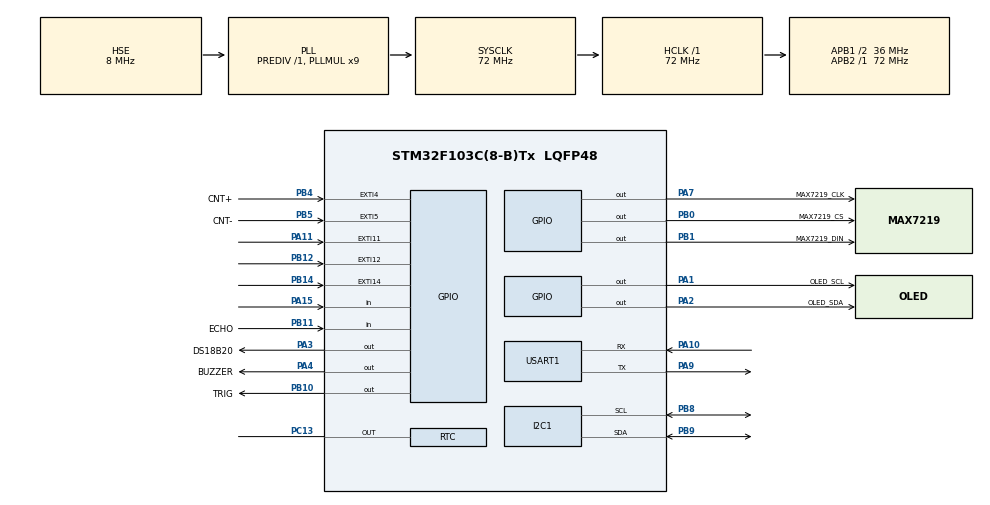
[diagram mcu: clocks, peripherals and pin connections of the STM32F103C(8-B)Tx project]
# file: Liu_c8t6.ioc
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IWDG.Prescaler=IWDG_PRESCALER_16
Mcu.Family=STM32F1
Mcu.Name=STM32F103C(8-B)Tx
Mcu.Package=LQFP48
NVIC.EXTI15_10_IRQn=true\:0\:0\:false\:false\:true\:true\:true\:true
NVIC.EXTI4_IRQn=true\:0\:0\:false\:false\:true\:true\:true\:true
NVIC.EXTI9_5_IRQn=true\:0\:0\:false\:false\:true\:true\:true\:true
NVIC.PriorityGroup=NVIC_PRIORITYGROUP_4
NVIC.TIM1_UP_IRQn=true\:0\:0\:true\:false\:true\:true\:true\:true
NVIC.TIM2_IRQn=true\:1\:0\:true\:false\:true\:true\:true\:true
NVIC.USART1_IRQn=true\:2\:0\:true\:false\:true\:true\:true\:true
PA1.GPIO_Label=OLED_SCL
PA1.GPIO_Speed=GPIO_SPEED_FREQ_HIGH
PA1.Signal=GPIO_Output
PA10.Mode=Asynchronous
PA10.Signal=USART1_RX
PA11.GPIO_ModeDefaultEXTI=GPIO_MODE_IT_FALLING
PA11.GPIO_PuPd=GPIO_PULLUP
PA11.Signal=GPXTI11
PA13.Mode=Serial_Wire
PA13.Signal=SYS_JTMS-SWDIO
PA14.Mode=Serial_Wire
PA14.Signal=SYS_JTCK-SWCLK
PA15.GPIO_PuPd=GPIO_PULLUP
PA15.Signal=GPIO_Input
PA2.GPIO_Label=OLED_SDA
PA2.GPIO_Speed=GPIO_SPEED_FREQ_HIGH
PA2.Signal=GPIO_Output
PA3.GPIO_Label=DS18B20
PA3.GPIO_PuPd=GPIO_PULLUP
PA3.Signal=GPIO_Output
PA4.GPIO_Label=BUZZER
PA4.GPIO_ModeDefaultOutputPP=GPIO_MODE_OUTPUT_OD
PA4.GPIO_PuPd=GPIO_PULLUP
PA4.Signal=GPIO_Output
PA7.GPIO_Label=MAX7219_CLK
PA7.GPIO_Speed=GPIO_SPEED_FREQ_HIGH
PA7.Signal=GPIO_Output
PA9.Mode=Asynchronous
PA9.Signal=USART1_TX
PB0.GPIO_Label=MAX7219_CS
PB0.GPIO_Speed=GPIO_SPEED_FREQ_HIGH
PB0.Signal=GPIO_Output
PB1.GPIO_Label=MAX7219_DIN
PB1.GPIO_Speed=GPIO_SPEED_FREQ_HIGH
PB1.Signal=GPIO_Output
PB10.GPIO_Label=TRIG
PB10.Signal=GPIO_Output
PB11.GPIO_Label=ECHO
PB11.Signal=GPIO_Input
PB12.GPIO_ModeDefaultEXTI=GPIO_MODE_IT_FALLING
PB12.GPIO_PuPd=GPIO_PULLUP
PB12.Signal=GPXTI12
PB14.GPIO_ModeDefaultEXTI=GPIO_MODE_IT_FALLING
PB14.GPIO_PuPd=GPIO_PULLUP
PB14.Signal=GPXTI14
PB4.GPIO_Label=CNT+
PB4.GPIO_ModeDefaultEXTI=GPIO_MODE_IT_FALLING
PB4.GPIO_PuPd=GPIO_PULLUP
PB4.Signal=GPXTI4
PB5.GPIO_Label=CNT-
PB5.GPIO_ModeDefaultEXTI=GPIO_MODE_IT_FALLING
PB5.GPIO_PuPd=GPIO_PULLUP
PB5.Signal=GPXTI5
PB8.Mode=I2C
PB8.Signal=I2C1_SCL
PB9.Mode=I2C
PB9.Signal=I2C1_SDA
PC13-TAMPER-RTC.Mode=RTC OUT
PC13-TAMPER-RTC.Signal=RTC_OUT
PC14-OSC32_IN.Mode=LSE-External-Oscillator
PC14-OSC32_IN.Signal=RCC_OSC32_IN
PC15-OSC32_OUT.Mode=LSE-External-Oscillator
PC15-OSC32_OUT.Signal=RCC_OSC32_OUT
PD0-OSC_IN.Mode=HSE-External-Oscillator
PD0-OSC_IN.Signal=RCC_OSC_IN
PD1-OSC_OUT.Mode=HSE-External-Oscillator
PD1-OSC_OUT.Signal=RCC_OSC_OUT
ProjectManager.HeapSize=0x200
ProjectManager.StackSize=0x400
ProjectManager.TargetToolchain=STM32CubeIDE
RCC.AHBFreq_Value=72000000
RCC.APB1CLKDivider=RCC_HCLK_DIV2
RCC.APB1Freq_Value=36000000
RCC.APB1TimFreq_Value=72000000
RCC.APB2Freq_Value=72000000
RCC.APB2TimFreq_Value=72000000
RCC.HCLKFreq_Value=72000000
RCC.PLLMUL=RCC_PLL_MUL9
RCC.PLLSourceVirtual=RCC_PLLSOURCE_HSE
RCC.RTCClockSelection=RCC_RTCCLKSOURCE_LSE
RCC.SYSCLKFreq_VALUE=72000000
RCC.SYSCLKSource=RCC_SYSCLKSOURCE_PLLCLK
RCC.USBFreq_Value=72000000
RTC.Date=13
RTC.Hours=1
RTC.Minutes=51
RTC.Month=RTC_MONTH_NOVEMBER
RTC.WeekDay=RTC_WEEKDAY_WEDNESDAY
RTC.Year=24
TIM1.Period=1000-1
TIM1.Prescaler=72-1
TIM2.Period=1000-1
TIM2.Prescaler=72-1
USART1.VirtualMode=VM_ASYNC
VP_IWDG_VS_IWDG.Mode=IWDG_Activate
VP_RTC_VS_RTC_Activate.Mode=RTC_Enabled
VP_RTC_VS_RTC_Calendar.Mode=RTC_Calendar
VP_TIM1_VS_ClockSourceINT.Mode=Internal
VP_TIM2_VS_ClockSourceINT.Mode=Internal
board=custom

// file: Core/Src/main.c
/* USER CODE BEGIN Header */
/**
  ******************************************************************************
  * @file           : main.c
  * @brief          : Main program body
  ******************************************************************************
  * @attention
  *
  * Copyright (c) 2024 STMicroelectronics.
  * All rights reserved.
  *
  * This software is licensed under terms that can be found in the LICENSE file
  * in the root directory of this software component.
  * If no LICENSE file comes with this software, it is provided AS-IS.
  *
  ******************************************************************************
  */
/* USER CODE END Header */
#include "main.h"
#include "i2c.h"
#include "iwdg.h"
#include "rtc.h"
#include "tim.h"
#include "usart.h"
#include "gpio.h"

/* USER CODE BEGIN Includes */
#include "OLED2.h"
#include "MENU.h"
#include "MAX7219.h"
#include "HCSR04.h"
#include "buzzer.h"
#include "AHT10.h"
#include "DS18B20.h"
#include "MYRTC.h"
/* USER CODE END Includes */

/* USER CODE BEGIN PD */
// 传感器数据
float temperature = 0,humidity = 0,temperature_ds18 = 0;
float temperature_1000 = 0,humidity_100 = 0;

// 原始距离与修正距离
float distance[2] = {0};
// 显示补偿
float distance_1000 = 0;
float distance_offset_1000 = 0;

// 报警阈值
uint32_t cnt = 5;

// 八段数码管显示计算用值
int displayValue = 0;
int integerPart = 0;
int decimalPart = 0;

// 温湿度补偿参数
float temperature_compensation = 0.606;
float humidity_compensation = 0.0124;

//距离显示用值
uint16_t Data_Distance = 0;
extern uint8_t c;
extern int get_key;
// flash存储数组
extern uint16_t datatemp[6];

/* USER CODE END PD */

/* USER CODE BEGIN PV */
// 时间存储函数
unsigned char time_data[8] = {0};
char *weekdays[7] = {
        "Sunday",    // 0
        "Monday",    // 1
        "Tuesday",   // 2
        "Wednesday", // 3
        "Thursday",  // 4
        "Friday",    // 5
        "Saturday"   // 6
};
char *weekdays_temp[1];

/* USER CODE END PV */

void SystemClock_Config(void);

int main(void)
{

  /* MCU Configuration--------------------------------------------------------*/

  /* Reset of all peripherals, Initializes the Flash interface and the Systick. */
  HAL_Init();

  /* USER CODE BEGIN Init */
    //SHT20_GPIO_INIT();
    AHT10_Init();
    DS18B20_GPIO_Init();
    Ultrasonic_Init();
    MAX7219_Init(0XFF,8,8);// 1110 0111
    OLED_Init();

  /* USER CODE END Init */

  /* Configure the system clock */
  SystemClock_Config();

  /* Initialize all configured peripherals */
  MX_GPIO_Init();
  MX_TIM1_Init();
  MX_USART1_UART_Init();
  MX_TIM2_Init();
  MX_RTC_Init();
  MX_I2C1_Init();
  MX_IWDG_Init();
  /* USER CODE BEGIN 2 */
    HAL_TIM_Base_Start_IT(&htim1);
    HAL_TIM_Base_Start_IT(&htim2);
    //HAL_Delay(1000);
    menu_3();//初始化显示菜单一
    //menu_4();
    //menu_5();
    HAL_GPIO_WritePin(GPIOA, GPIO_PIN_4, GPIO_PIN_SET);

  /* USER CODE END 2 */

  /* Infinite loop */
  while (1)
  {

    /* USER CODE BEGIN 3 */

      // 传感器数据获取

//      temperature = SHT20_Read(T_ADDR);
//      humidity = SHT20_Read(PH_ADDR);
      AHT10_Read_predata(&humidity,&temperature);
       Hcsr04GetLength_offset();
      // distance[1] = MedianFilter(); // 测量距离且中位值滤波
      // distance[1] = GetCompensatedDistance();  // 获取七次距离然后中位值滤波算法，最后进行分区间补偿
      temperature_ds18 = DS18B20_GetTemperture();
      Data_Distance = (uint16_t)distance[1];

      // 打印时钟
      //HALGetDataTime();
      RtcGetDateTime(time_data,
                     time_data+1,
                     time_data+2,
                     time_data+3,
                     time_data+4,
                     time_data+5
      );
      weekdays_temp[0] = CalWeek(time_data[0], time_data[1], time_data[2]);
      printf("%s\n", weekdays_temp[0]);
      printf("20%02d/%02d/%02d\t",time_data[0], time_data[1], time_data[2]);
      printf("%02d:%02d:%02d\r\n",time_data[3], time_data[4], time_data[5]);
      printf("相对湿度: %f %%\n", humidity);
      printf("摄氏温度: %f ℃\n", temperature);
      printf("原始距离: %f cm\n", distance[0]);
      printf("修正距离: %f cm\n", distance[1]);
      printf("整数距离: %d cm\n", Data_Distance);
      printf("温度 = %.2f\r\n\n", temperature_ds18);

        // 八段数码管显示在定时器二的定时周期中
        // 八段数码管实时显示报警阈值

      MAX7219_ShowNum(8, (int)(cnt / 1000),0);
      MAX7219_ShowNum(7, (int)((cnt / 100)%10),0);
      MAX7219_ShowNum(6, (int)((cnt % 100) / 10),0);
      MAX7219_ShowNum(5, (int)(cnt % 10),0);
        // 八段数码管实时显示测量距离，分辨率0.01cm
        displayValue = (int)(distance[1] * 100);
        integerPart = displayValue / 100;
        decimalPart = displayValue % 100;
        if (integerPart > 99)
        {
            integerPart = 99;
            decimalPart = 0;
        }
      MAX7219_ShowNum(4, (integerPart / 10),0);
      MAX7219_ShowNum(3, (integerPart % 10) ,1);
      MAX7219_ShowNum(2, (decimalPart / 10),0);
      MAX7219_ShowNum(1, (decimalPart % 10),0);
      // 报警
      if (displayValue <= cnt*100)
      {
          Buzzer_Alarm((int)distance);
          HAL_IWDG_Refresh(&hiwdg);   //看门狗喂狗
      }

      // OLED显示修正
      temperature_1000 = temperature*1000;
      humidity_100 = humidity*100;
      distance_1000 = distance[0]*1000;
      distance_offset_1000 = distance[1]*1000;

      // OLED显示
      if(c%5==3)
      {
          Display_Array[0]=Display_Array[75];
          Retrude(Display_Array);
          Dotting(Display_Array,1);
          Dotting(Display_Array,0);
          OLED_ShowNum(98,56,Data_Distance,3,8,1);
          OLED_ShowNum(87,56,Display_Array[0],2,8,1);
          OLED_Refresh();
      }

      else if(c%5==4)
      {
          OLED_ShowNum(80,0,Data_Distance,3,16,1);OLED_Refresh();
      }

      else if(c%5==1)
      {
          Updata_menu4();
      }
      else if(c%5 ==2){
          Updata_menu5();
          if (displayValue <= cnt*100)
          {
              OLED_ShowChinese(80,48,25,16,1);
          }else {OLED_ShowChinese(80,48,26,16,1);}
          OLED_Refresh();
      }

      else if(c%5 == 0){
          menu_3();
          OLED_ShowNum(80,48,Data_Distance,3,16,1);
          OLED_Refresh();
      }
      Display_Array[75]=(Data_Distance+1)/10+1;

      HAL_IWDG_Refresh(&hiwdg);   //看门狗喂狗
  }
  /* USER CODE END 3 */
}

void SystemClock_Config(void)
{
  RCC_OscInitTypeDef RCC_OscInitStruct = {0};
  RCC_ClkInitTypeDef RCC_ClkInitStruct = {0};
  RCC_PeriphCLKInitTypeDef PeriphClkInit = {0};

  /** Initializes the RCC Oscillators according to the specified parameters
  * in the RCC_OscInitTypeDef structure.
  */
  RCC_OscInitStruct.OscillatorType = RCC_OSCILLATORTYPE_LSI|RCC_OSCILLATORTYPE_HSE
                              |RCC_OSCILLATORTYPE_LSE;
  RCC_OscInitStruct.HSEState = RCC_HSE_ON;
  RCC_OscInitStruct.HSEPredivValue = RCC_HSE_PREDIV_DIV1;
  RCC_OscInitStruct.LSEState = RCC_LSE_ON;
  RCC_OscInitStruct.HSIState = RCC_HSI_ON;
  RCC_OscInitStruct.LSIState = RCC_LSI_ON;
  RCC_OscInitStruct.PLL.PLLState = RCC_PLL_ON;
  RCC_OscInitStruct.PLL.PLLSource = RCC_PLLSOURCE_HSE;
  RCC_OscInitStruct.PLL.PLLMUL = RCC_PLL_MUL9;
  if (HAL_RCC_OscConfig(&RCC_OscInitStruct) != HAL_OK)
  {
    Error_Handler();
  }

  /** Initializes the CPU, AHB and APB buses clocks
  */
  RCC_ClkInitStruct.ClockType = RCC_CLOCKTYPE_HCLK|RCC_CLOCKTYPE_SYSCLK
                              |RCC_CLOCKTYPE_PCLK1|RCC_CLOCKTYPE_PCLK2;
  RCC_ClkInitStruct.SYSCLKSource = RCC_SYSCLKSOURCE_PLLCLK;
  RCC_ClkInitStruct.AHBCLKDivider = RCC_SYSCLK_DIV1;
  RCC_ClkInitStruct.APB1CLKDivider = RCC_HCLK_DIV2;
  RCC_ClkInitStruct.APB2CLKDivider = RCC_HCLK_DIV1;

  if (HAL_RCC_ClockConfig(&RCC_ClkInitStruct, FLASH_LATENCY_2) != HAL_OK)
  {
    Error_Handler();
  }
  PeriphClkInit.PeriphClockSelection = RCC_PERIPHCLK_RTC;
  PeriphClkInit.RTCClockSelection = RCC_RTCCLKSOURCE_LSE;
  if (HAL_RCCEx_PeriphCLKConfig(&PeriphClkInit) != HAL_OK)
  {
    Error_Handler();
  }
}

void Error_Handler(void)
{
  __disable_irq();
  while (1)
  {
  }
}
